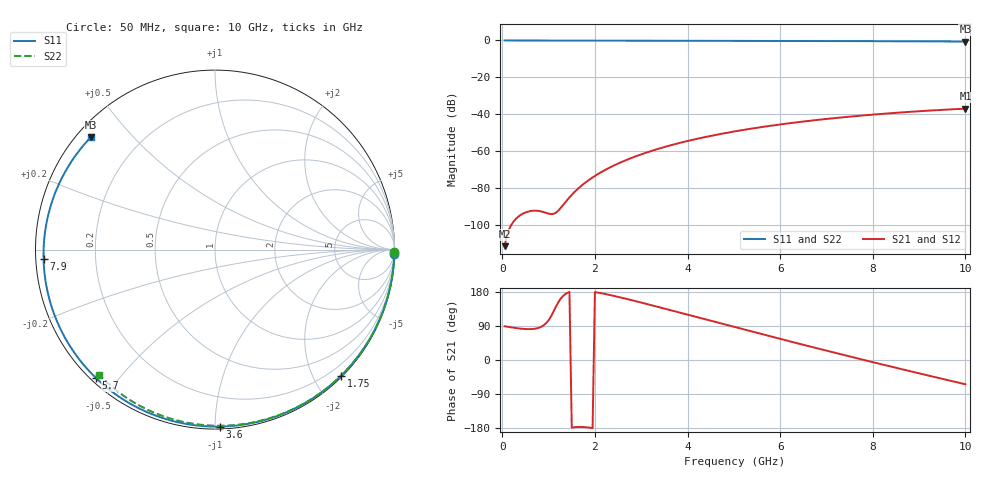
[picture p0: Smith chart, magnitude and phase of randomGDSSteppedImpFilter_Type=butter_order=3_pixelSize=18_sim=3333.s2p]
! freq	dB(S11)	phase(S11)	dB(S12)	phase(S12)
!  dB(S21)	phase(S21)	dB(S22)	phase(S22)
!S-par simulation data
#  GHz  S  DB  R 50
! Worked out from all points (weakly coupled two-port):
!   200 points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, 50 MHz to 10 GHz, reference 50 ohm
!   highest |S21| = -36.99 dB at 10 GHz (marker M1); lowest = -111.6 dB at 50 MHz (marker M2)
!   lowest |S11| = -0.6 dB at 10 GHz (marker M3), VSWR 28.95, Z = 1.98 + j19.2 ohm
!   |S11| at or under -10 dB: nowhere
!   |S22| runs from -0.4 to 0.0 dB; largest |S21 - S12| = 0
!   S11 on the Smith chart (normalised r, x): 50 MHz: 0, -86; 1.75 GHz: 0.02, -2.42; 3.6 GHz: 0.01, -1.03; 5.7 GHz: 0.01, -0.44; 7.9 GHz: 0.02, -0.03; 10 GHz: 0.04, +0.38
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0.05  -0.00 -1.3  -111.59 89.0  -111.59 89.0  -0.00 -0.8
0.4  -0.01 -10.5  -94.60 82.7  -94.60 82.7  -0.01 -6.1
0.8  -0.03 -20.9  -92.53 85.5  -92.53 85.5  -0.02 -12.2
1.2  -0.04 -31.1  -92.54 150.3  -92.54 150.3  -0.02 -18.3
1.65  -0.05 -42.5  -80.06 -176.6  -80.06 -176.6  -0.03 -25.0
1.75  -0.06 -45.0  -77.95 -176.9  -77.95 -176.9  -0.03 -26.5
2.05  -0.07 -52.4  -72.70 178.3  -72.70 178.3  -0.04 -31.0
2.45  -0.08 -62.0  -67.35 168.0  -67.35 168.0  -0.05 -36.8
2.9  -0.09 -72.6  -62.68 154.6  -62.68 154.6  -0.06 -43.3
3.4  -0.11 -84.1  -58.53 138.9  -58.53 138.9  -0.07 -50.5
3.6  -0.12 -88.5  -57.10 132.5  -57.10 132.5  -0.07 -53.3
4.3  -0.14 -103.8  -52.82 109.9  -52.82 109.9  -0.09 -62.9
5.05  -0.18 -119.5  -49.19 85.8  -49.19 85.8  -0.11 -73.0
5.7  -0.21 -132.7  -46.61 65.2  -46.61 65.2  -0.14 -81.5
6.2  -0.25 -142.8  -44.90 49.5  -44.90 49.5  -0.16 -87.8
6.7  -0.28 -152.7  -43.39 33.9  -43.39 33.9  -0.18 -94.1
7.3  -0.33 -164.7  -41.81 15.5  -41.81 15.5  -0.22 -101.4
7.9  -0.38 -176.8  -40.43 -2.7  -40.43 -2.7  -0.26 -108.6
8.35  -0.43 173.9  -39.53 -16.1  -39.53 -16.1  -0.29 -113.8
8.8  -0.47 164.5  -38.72 -29.4  -38.72 -29.4  -0.33 -119.1
9.2  -0.52 155.9  -38.07 -41.0  -38.07 -41.0  -0.36 -123.7
10  -0.60 137.8  -36.99 -64.0  -36.99 -64.0  -0.45 -132.8
